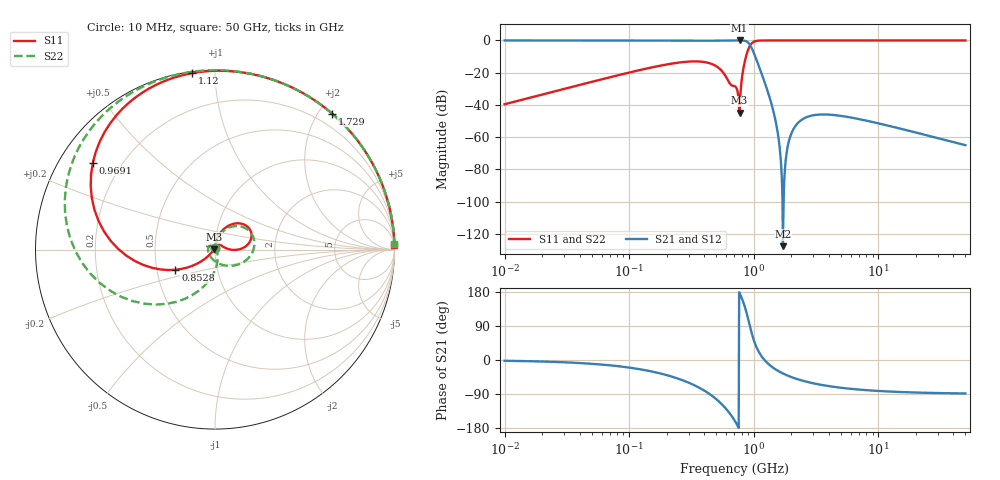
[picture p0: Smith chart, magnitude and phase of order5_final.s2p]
! Created with skrf 1.11.0 (http://scikit-rf.org).
# Hz S RI R 50.0
!freq ReS11 ImS11 ReS21 ImS21 ReS12 ImS12 ReS22 ImS22
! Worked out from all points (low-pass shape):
!   1001 points, 10 MHz to 50 GHz, reference 50 ohm
!   highest |S21| = 0.00 dB at 770 MHz (marker M1); lowest = -127.7 dB at 1.715 GHz (marker M2)
!   |S21| within 3 dB of the highest: start of sweep to 936.3 MHz
!   lowest |S11| = -44.8 dB at 770 MHz (marker M3), VSWR 1.01, Z = 49.4 + j0.0946 ohm
!   |S11| at or under -10 dB: start of sweep to 866.4 MHz
!   |S22| runs from -44.8 to 0.0 dB; largest |S21 - S12| = 3e-11
!   S11 on the Smith chart (normalised r, x): 10 MHz: 1.00, +0.02; 852.8 MHz: 0.62, -0.15; 969.1 MHz: 0.10, +0.32; 1.12 GHz: 0.01, +0.88; 1.729 GHz: 0.00, +2.18; 50 GHz: 0, +75
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1e7  0.000339 0.0105  0.9993 -0.035  0.9993 -0.035  0.000395 0.0105
4.146942e7  0.00578 0.0428  0.9886 -0.1444  0.9886 -0.1444  0.00672 0.0427
1.719713e8  0.0842 0.1373  0.8152 -0.5563  0.8152 -0.5563  0.0972 0.1285
3.042895e8  0.1811 0.1276  0.478 -0.85  0.478 -0.85  0.2031 0.0885
4.738418e8  0.1762 0.0224  -0.1212 -0.9766  -0.1212 -0.9766  0.1654 -0.0648
5.912983e8  0.0806 0.00145  -0.5958 -0.7991  -0.5958 -0.7991  0.0216 -0.0777
7.071068e8  0.018 0.0331  -0.9467 -0.3199  -0.9467 -0.3199  -0.0344 0.0154
7.441814e8  0.00817 0.0228  -0.9944 -0.1025  -0.9944 -0.1025  -0.0126 0.0206
7.699716e8  -0.00569 0.000957  -0.9978 0.0665  -0.9978 0.0665  0.00577 0.000193
8.528298e8  -0.221 -0.1125  -0.7156 0.6531  -0.7156 0.6531  -0.0918 -0.2303
9.052221e8  -0.5389 0.00339  -0.2315 0.8099  -0.2315 0.8099  -0.4557 -0.2877
9.690516e8  -0.6807 0.4842  0.2081 0.5089  0.2081 0.5089  -0.8249 0.1313
1.037382e9  -0.4418 0.8489  0.2269 0.1807  0.2269 0.1807  -0.7286 0.6205
1.120029e9  -0.1261 0.9833  0.1255 0.0374  0.1255 0.0374  -0.4329 0.8919
1.446101e9  0.4595 0.8881  0.00539 -0.00212  0.00539 -0.00212  0.2681 0.9634
1.714659e9  0.645 0.7642  3.37e-07 -2.41e-07  3.37e-07 -2.41e-07  0.514 0.8578
1.729326e9  0.6521 0.7581  3.14e-06 -2.3e-06  3.14e-06 -2.3e-06  0.5235 0.852
1.931806e9  0.7309 0.6824  0.000625 -0.000583  0.000625 -0.000583  0.6302 0.7765
2.085711e9  0.7737 0.6336  0.00122 -0.00131  0.00122 -0.00131  0.6884 0.7253
2.932331e9  0.8917 0.4526  0.00229 -0.00408  0.00229 -0.00408  0.8504 0.5261
1.216021e10  0.994 0.1093  0.000267 -0.00223  0.000267 -0.00223  0.9917 0.1285
5e10  0.9996 0.0266  1.63e-05 -0.000562  1.63e-05 -0.000562  0.9995 0.0313
